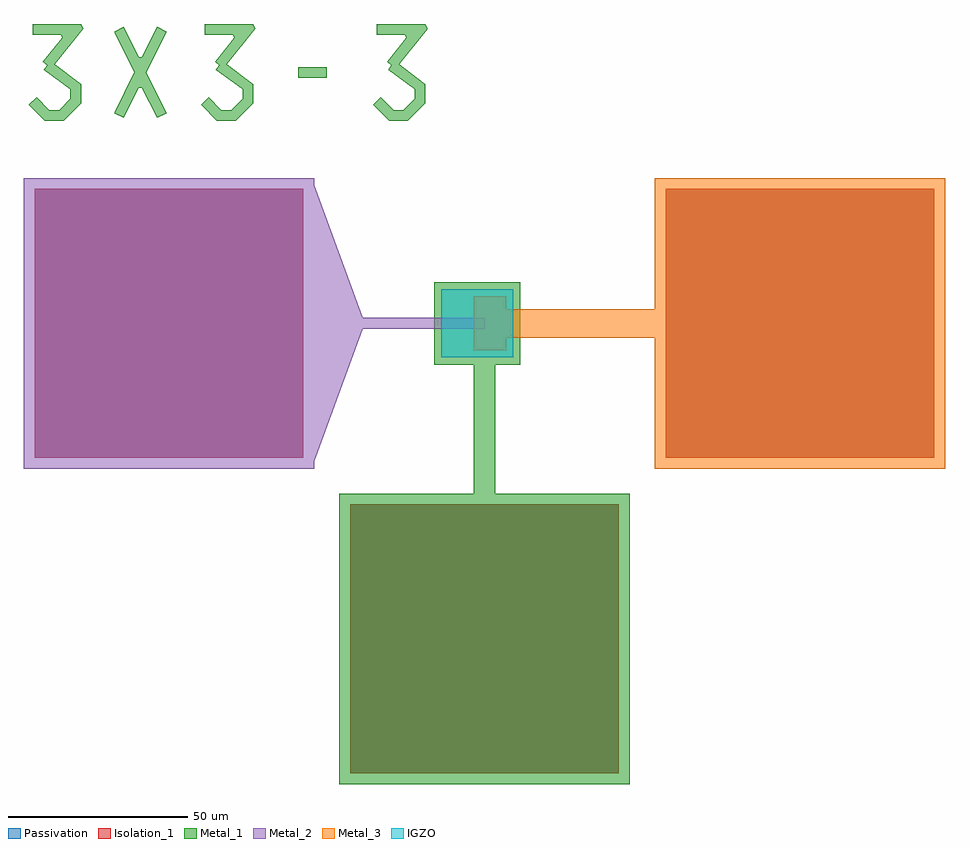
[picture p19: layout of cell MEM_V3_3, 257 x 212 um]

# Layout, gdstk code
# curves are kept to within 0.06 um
import gdstk
lib = gdstk.Library(unit=1e-6, precision=1e-09)
def R(c, l, rs):  # rectangles x0, y0, x1, y1
    for r in rs: c.add(gdstk.rectangle(r[:2], r[2:], *l))
def P(c, l, *ps):  # polygons
    for p in ps: c.add(gdstk.Polygon(p, *l))
Metal_1 = (1, 0)
Isolation_1 = (2, 0)
Metal_2 = (3, 0)
IGZO = (4, 0)
Metal_3 = (5, 0)
Passivation = (6, 0)

mem_v3_3 = lib.new_cell('MEM_V3_3')
R(mem_v3_3, Metal_1, [(87.5,-0.5,168.5,80.5), (76,196.5,84,199.5)])
P(mem_v3_3, Metal_1, [(5.378,184.5),(0.939,188.939),(3.061,191.061),(6.622,187.5),(9.378,187.5),(12.5,190.622),(12.5,193.25),(5.1,198.8),(5.999,200),(4.83,200.937),(10.204,207.656),(9.798,208.5),(2,208.5),(2,211.5),(15.5,211.5),(16.108,210.234),(8.158,200.297),(15.5,194.75),(15.5,189.378),(10.622,184.5)],
  [(53.378,184.5),(48.939,188.939),(51.061,191.061),(54.622,187.5),(57.378,187.5),(60.5,190.622),(60.5,193.25),(53.1,198.8),(53.999,200),(52.83,200.937),(58.204,207.656),(57.798,208.5),(50,208.5),(50,211.5),(63.5,211.5),(64.108,210.234),(56.158,200.297),(63.5,194.75),(63.5,189.378),(58.622,184.5)],
  [(101.378,184.5),(96.939,188.939),(99.061,191.061),(102.622,187.5),(105.378,187.5),(108.5,190.622),(108.5,193.25),(101.1,198.8),(101.999,200),(100.83,200.937),(106.204,207.656),(105.798,208.5),(98,208.5),(98,211.5),(111.5,211.5),(112.108,210.234),(104.158,200.297),(111.5,194.75),(111.5,189.378),(106.622,184.5)],
  [(27.342,185.328),(24.657,186.671),(30.322,198),(24.657,209.329),(27.342,210.672),(31.553,202.248),(32.447,202.248),(36.658,210.672),(39.343,209.329),(33.677,198),(39.343,186.671),(36.658,185.328),(32.447,193.752),(31.553,193.752)],
  [(88,0),(88,80),(125,80),(125,116.5),(114,116.5),(114,139.5),(138,139.5),(138,116.5),(131,116.5),(131,80),(168,80),(168,0)])
R(mem_v3_3, Isolation_1, [(90.5,2.5,165.5,77.5), (2.5,90.5,77.5,165.5), (178.5,90.5,253.5,165.5)])
R(mem_v3_3, Metal_2, [(-0.5,87.5,80.5,168.5), (0,88,80,168)])
P(mem_v3_3, Metal_2, [(80,88),(80,168),(94,129.5),(128,129.5),(128,126.5),(94,126.5)])
R(mem_v3_3, IGZO, [(116,118.5,136,137.5)])
R(mem_v3_3, Metal_3, [(175.5,87.5,256.5,168.5)])
P(mem_v3_3, Metal_3, [(176,88),(176,124),(134,124),(134,120.5),(125,120.5),(125,135.5),(134,135.5),(134,132),(176,132),(176,168),(256,168),(256,88)])
R(mem_v3_3, Passivation, [(90.5,2.5,165.5,77.5), (2.5,90.5,77.5,165.5), (178.5,90.5,253.5,165.5)])

lib.write_gds('MEM_V3_3.gds')
